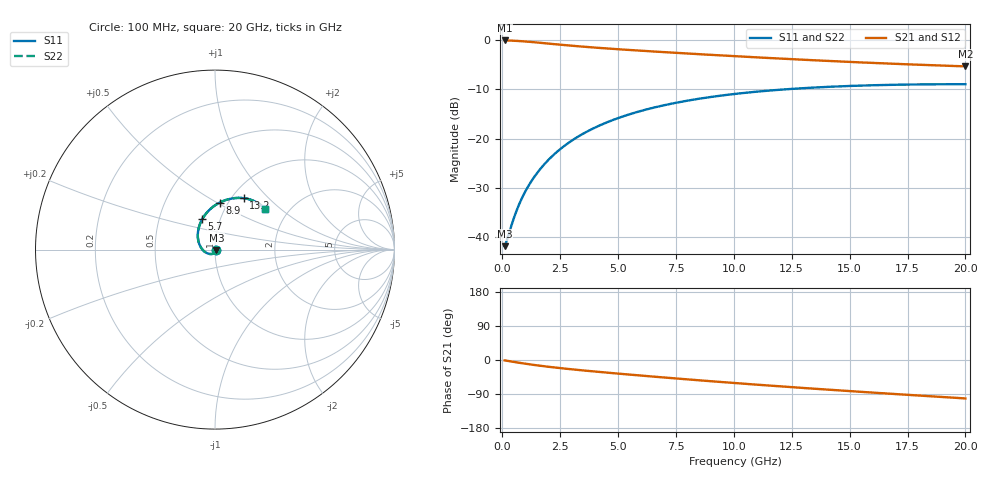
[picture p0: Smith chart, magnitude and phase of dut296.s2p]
! Touchstone file exported from HFSS 2024.1.0
!  File:  C:/UserFiles/LocalFiles/RDL_TSV_Batchsim/temp_RDL_TSV_296_1779468554.aedt
!  Generated:  01:04:07 AM May 23, 2026
!  Design:  RDL_TSV
!  Project:  temp_RDL_TSV_296_1779468554
!  Setup:  Setup1
!  Solution:  Sweep
! Variables:
!  dtsv = 10.68um
!  hbump = 3um
!  htsv = 76.21um
!  ldown = 102.51um
!  lrdl = 169.43um
!  p = 40
!  p1 = 45.61um
!  rhole = 10um
!  subl = 985.25um
!  t = 450um
!  tdown = 4.93um
!  trdl = 4.13um
!  viad = 10um
!  wdown = 12.97um
!  wrdl = 10.99um
!  xbump = 18um
# GHz S MA R 50.000000
! Terminal data exported
! Port[1] = TM1_1_T1
! Port[2] = TM1_4_T1
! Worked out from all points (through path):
!   200 points, 100 MHz to 20 GHz, reference 50 ohm
!   highest |S21| = -0.07 dB at 100 MHz (marker M1); lowest = -5.3 dB at 20 GHz (marker M2)
!   group delay of S21, straight-line fit = 13.2 ps
!   lowest |S11| = -41.8 dB at 100 MHz (marker M3), VSWR 1.02, Z = 50.8 - j0.334 ohm
!   |S11| at or under -10 dB: start of sweep to 12.15 GHz
!   |S22| runs from -41.8 to -8.9 dB; largest |S21 - S12| = 7e-15
!   S11 on the Smith chart (normalised r, x): 100 MHz: 1.02, -0.01; 5.7 GHz: 0.82, +0.29; 8.9 GHz: 0.91, +0.51; 13.2 GHz: 1.13, +0.73; 20 GHz: 1.52, +0.79
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0.1  0.008167 -23.7  0.992 -1.0  0.992 -1.0  0.008167 -23.7
! Gamma 0 0 0 0
! Port Impedance 50 0 50 0
0.2  0.009405 -44.2  0.9911 -2.1  0.9911 -2.1  0.009405 -44.2
0.5  0.01573 -85.0  0.9854 -5.1  0.9854 -5.1  0.01573 -85.0
0.7  0.02093 -102.9  0.9796 -7.0  0.9796 -7.0  0.02093 -102.9
1  0.02945 -123.8  0.9686 -9.8  0.9686 -9.8  0.02945 -123.8
1.2  0.03548 -135.5  0.9601 -11.6  0.9601 -11.6  0.03548 -135.5
1.4  0.04172 -145.8  0.9509 -13.3  0.9509 -13.3  0.04173 -145.8
1.8  0.05474 -163.6  0.9317 -16.5  0.9317 -16.5  0.05475 -163.6
2.3  0.07167 178.3  0.9079 -20.1  0.9079 -20.1  0.07168 178.3
2.9  0.09237 161.0  0.8814 -24.0  0.8814 -24.0  0.09239 161.0
3.5  0.113 147.1  0.8576 -27.6  0.8576 -27.6  0.113 147.1
4.5  0.1462 129.2  0.8235 -33.2  0.8235 -33.2  0.1463 129.1
5.7  0.1833 113.0  0.7885 -39.6  0.7885 -39.6  0.1833 113.0
6.8  0.2139 101.4  0.76 -45.2  0.76 -45.2  0.214 101.4
7.8  0.2389 92.6  0.7361 -50.2  0.7361 -50.2  0.239 92.6
8.9  0.2632 84.4  0.7114 -55.5  0.7114 -55.5  0.2633 84.4
10.1  0.2859 76.6  0.6862 -61.1  0.6862 -61.1  0.286 76.6
11.6  0.3091 68.4  0.6572 -67.8  0.6572 -67.8  0.3092 68.4
13.2  0.328 60.9  0.6292 -74.7  0.6292 -74.7  0.3282 60.9
13.4  0.33 60.0  0.6259 -75.5  0.6259 -75.5  0.3301 60.0
16.7  0.3519 48.0  0.5782 -88.8  0.5782 -88.8  0.3521 48.0
20  0.3573 39.2  0.5419 -101.4  0.5419 -101.4  0.3575 39.2
